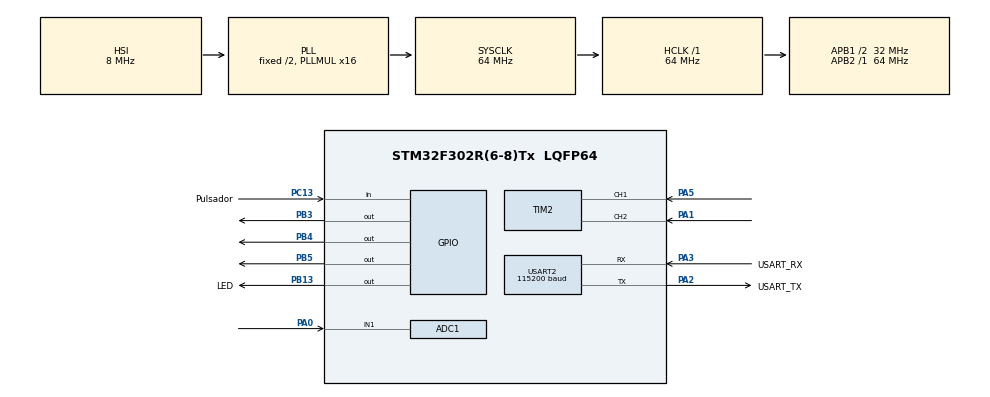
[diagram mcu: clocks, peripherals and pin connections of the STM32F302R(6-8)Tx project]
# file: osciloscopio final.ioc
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ADC1.Channel-0\#ChannelRegularConversion=ADC_CHANNEL_1
ADC1.ContinuousConvMode=ENABLE
ADC1.DMAContinuousRequests=ENABLE
ADC1.NbrOfConversionFlag=1
ADC1.Offset-0\#ChannelRegularConversion=0
ADC1.OffsetNumber-0\#ChannelRegularConversion=ADC_OFFSET_NONE
ADC1.Rank-0\#ChannelRegularConversion=1
ADC1.SamplingTime-0\#ChannelRegularConversion=ADC_SAMPLETIME_601CYCLES_5
ADC1.SamplingTimeOPAMP-0\#ChannelRegularConversion=ADC_SAMPLETIME_61CYCLES_5
ADC1.SubFamily=STM32F302x8
ADC1.master=1
Dma.ADC1.0.Direction=DMA_PERIPH_TO_MEMORY
Dma.ADC1.0.Instance=DMA1_Channel1
Dma.ADC1.0.MemDataAlignment=DMA_MDATAALIGN_WORD
Dma.ADC1.0.MemInc=DMA_MINC_ENABLE
Dma.ADC1.0.Mode=DMA_CIRCULAR
Dma.ADC1.0.PeriphDataAlignment=DMA_PDATAALIGN_WORD
Dma.ADC1.0.PeriphInc=DMA_PINC_DISABLE
Dma.ADC1.0.Priority=DMA_PRIORITY_LOW
Dma.Request0=ADC1
Mcu.Family=STM32F3
Mcu.Name=STM32F302R(6-8)Tx
Mcu.Package=LQFP64
NVIC.DMA1_Channel1_IRQn=true\:0\:0\:false\:false\:true\:false\:true\:true
NVIC.PriorityGroup=NVIC_PRIORITYGROUP_0
NVIC.TIM2_IRQn=true\:0\:0\:false\:false\:true\:true\:true\:true
PA0.Mode=IN1-Single-Ended
PA0.Signal=ADC1_IN1
PA1.Signal=S_TIM2_CH2
PA13.GPIO_Label=TMS
PA13.Mode=Serial_Wire
PA13.Signal=SYS_JTMS-SWDIO
PA14.GPIO_Label=TCK
PA14.Mode=Serial_Wire
PA14.Signal=SYS_JTCK-SWCLK
PA2.GPIO_Label=USART_TX
PA2.GPIO_Mode=GPIO_MODE_AF_PP
PA2.GPIO_PuPd=GPIO_NOPULL
PA2.GPIO_Speed=GPIO_SPEED_FREQ_LOW
PA2.Mode=Asynchronous
PA2.Signal=USART2_TX
PA3.GPIO_Label=USART_RX
PA3.GPIO_Mode=GPIO_MODE_AF_PP
PA3.GPIO_PuPd=GPIO_NOPULL
PA3.GPIO_Speed=GPIO_SPEED_FREQ_LOW
PA3.Mode=Asynchronous
PA3.Signal=USART2_RX
PA5.Signal=S_TIM2_CH1_ETR
PB13.GPIO_Label=LED
PB13.Signal=GPIO_Output
PB3.Signal=GPIO_Output
PB4.Signal=GPIO_Output
PB5.Signal=GPIO_Output
PC13.GPIO_Label=Pulsador
PC13.GPIO_PuPd=GPIO_PULLUP
PC13.Signal=GPIO_Input
PC14\ -\ OSC32_IN.Signal=RCC_OSC32_IN
PC15\ -\ OSC32_OUT.Signal=RCC_OSC32_OUT
PF0-OSC_IN.Mode=HSE-External-Oscillator
PF0-OSC_IN.Signal=RCC_OSC_IN
PF1-OSC_OUT.Mode=HSE-External-Oscillator
PF1-OSC_OUT.Signal=RCC_OSC_OUT
ProjectManager.HeapSize=0x200
ProjectManager.StackSize=0x400
ProjectManager.TargetToolchain=STM32CubeIDE
RCC.AHBFreq_Value=64000000
RCC.APB1CLKDivider=RCC_HCLK_DIV2
RCC.APB1Freq_Value=32000000
RCC.APB1TimFreq_Value=64000000
RCC.APB2Freq_Value=64000000
RCC.APB2TimFreq_Value=64000000
RCC.CortexFreq_Value=64000000
RCC.HCLKFreq_Value=64000000
RCC.HSE_VALUE=8000000
RCC.HSI_VALUE=8000000
RCC.LSE_VALUE=32768
RCC.PLLM=8
RCC.PLLMUL=RCC_PLL_MUL16
RCC.PLLN=336
RCC.PLLP=RCC_PLLP_DIV4
RCC.PLLQ=7
RCC.RCC_PLLsource_Clock_Source_FROM_HSE=RCC_HSE_PREDIV_DIV2
RCC.SYSCLKFreq_VALUE=64000000
RCC.SYSCLKSourceVirtual=RCC_SYSCLKSOURCE_PLLCLK
RCC.USBFreq_Value=64000000
SH.S_TIM2_CH1_ETR.0=TIM2_CH1,Encoder_Interface
SH.S_TIM2_CH2.0=TIM2_CH2,Encoder_Interface
TIM2.EncoderMode=TIM_ENCODERMODE_TI12
TIM2.IC1Polarity=TIM_ICPOLARITY_FALLING
TIM2.IC2Polarity=TIM_ICPOLARITY_FALLING
USART2.BaudRate=115200
USART2.VirtualMode-Asynchronous=VM_ASYNC
board=NUCLEO-F302R8

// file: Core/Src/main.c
/* USER CODE BEGIN Header */
/**
 ******************************************************************************

 *
 ******************************************************************************
 */

/* USER CODE END Header */
#include "main.h"

/* USER CODE BEGIN Includes */
#include "matriztarea1.h"
#include<math.h>
#include<stdio.h>
#include<string.h>
#include "stdbool.h"
/* USER CODE END Includes */

ADC_HandleTypeDef hadc1;
DMA_HandleTypeDef hdma_adc1;

TIM_HandleTypeDef htim2;

UART_HandleTypeDef huart2;

/* USER CODE BEGIN PV */
uint32_t VALOR_ADC;
char val[10];
int matris_on[8][8];
int wave = 0;
//int VALOR_ADC;
//float cont3=0;
//int cont4=0;
/* USER CODE END PV */

void SystemClock_Config(void);
static void MX_GPIO_Init(void);
static void MX_DMA_Init(void);
static void MX_USART2_UART_Init(void);
static void MX_ADC1_Init(void);
static void MX_TIM2_Init(void);

/* USER CODE BEGIN 0 */
uint32_t counter = 0;
//uint32_t counterr = 0;
int16_t count = 0;
//int16_t countt = 0;
int16_t Position_time = 0;
int16_t Position_volt = 0;
int8_t Stat;
GPIO_PinState estpul;
bool ctrl = false;
//int posicion_anterior = 0;
//int velocidad = 0;
void button() {
	estpul = HAL_GPIO_ReadPin(Pulsador_GPIO_Port, Pulsador_Pin);

	if (estpul && !ctrl) {
		ctrl = true;
	} else if (!estpul && ctrl) {
		HAL_GPIO_TogglePin(LED_GPIO_Port, LED_Pin);
		ctrl = false;
	}
	if (HAL_GPIO_ReadPin(LED_GPIO_Port, LED_Pin) == GPIO_PIN_SET) {
		Stat = 1; // Establecer Stat en 1 cuando el pin del LED está activo
	} else {
		Stat = 0; // Establecer Stat en 0 cuando el pin del LED está inactivo
	}
}

/* USER CODE END 0 */

int main(void) {

	/* MCU Configuration--------------------------------------------------------*/

	/* Reset of all peripherals, Initializes the Flash interface and the Systick. */
	HAL_Init();

	/* Configure the system clock */
	SystemClock_Config();

	/* Initialize all configured peripherals */
	MX_GPIO_Init();
	MX_DMA_Init();
	MX_USART2_UART_Init();
	MX_ADC1_Init();
	MX_TIM2_Init();
	/* USER CODE BEGIN 2 */
	HAL_TIM_Encoder_Start_IT(&htim2, TIM_CHANNEL_ALL);
	HAL_ADC_Start_DMA(&hadc1, &VALOR_ADC, 1);
	max_init(0x02);
	write_char('N', 1);
	HAL_Delay(2000);
	max_clear();
	button();
	/* USER CODE END 2 */

	/* Infinite loop */
	/* USER CODE BEGIN WHILE */
	while (1) {
	    button();
	    sprintf(val, "%u\n", VALOR_ADC);
	    uint8_t len = strlen(val);
	    HAL_UART_Transmit(&huart2, (uint8_t*) val, len, 100);

	    // Recorre los índices de la matriz
	    for (int i = 0; i < 8; i++) {
	        // Calcula los límites inferior y superior para cada LED
	        int lower_bound = i * 500 + 250;
	        int upper_bound = i * 500 + 720;

	        // Verifica si el VALOR_ADC está dentro del rango
	        if (VALOR_ADC >= (lower_bound * Position_volt * 0.1) &&
	            VALOR_ADC <= (upper_bound * Position_volt * 0.1)) {
	            matris_on[i][wave] = 1;  // LED encendido
	        } else {
	            matris_on[i][wave] = 0;  // LED apagado
	        }
	    }

	    // Actualiza el estado de los LEDs en función de la matriz
	    for (int z = 0; z < 8; z++) {
	        for (int i = 0; i < 8; i++) {
	            setled(i, z, matris_on[i][z]);
	        }
	    }

	    wave++;
	    HAL_Delay(Position_time);

	    if (wave > 7) {
	        wave = 0;
	    }
	}

	/* USER CODE END 3 */
}

void SystemClock_Config(void) {
	RCC_OscInitTypeDef RCC_OscInitStruct = { 0 };
	RCC_ClkInitTypeDef RCC_ClkInitStruct = { 0 };
	RCC_PeriphCLKInitTypeDef PeriphClkInit = { 0 };

	/** Initializes the RCC Oscillators according to the specified parameters
	 * in the RCC_OscInitTypeDef structure.
	 */
	RCC_OscInitStruct.OscillatorType = RCC_OSCILLATORTYPE_HSI;
	RCC_OscInitStruct.HSIState = RCC_HSI_ON;
	RCC_OscInitStruct.HSICalibrationValue =
	RCC_HSICALIBRATION_DEFAULT;
	RCC_OscInitStruct.PLL.PLLState = RCC_PLL_ON;
	RCC_OscInitStruct.PLL.PLLSource = RCC_PLLSOURCE_HSI;
	RCC_OscInitStruct.PLL.PLLMUL = RCC_PLL_MUL16;
	if (HAL_RCC_OscConfig(&RCC_OscInitStruct) != HAL_OK) {
		Error_Handler();
	}

	/** Initializes the CPU, AHB and APB buses clocks
	 */
	RCC_ClkInitStruct.ClockType = RCC_CLOCKTYPE_HCLK | RCC_CLOCKTYPE_SYSCLK
			| RCC_CLOCKTYPE_PCLK1 | RCC_CLOCKTYPE_PCLK2;
	RCC_ClkInitStruct.SYSCLKSource = RCC_SYSCLKSOURCE_PLLCLK;
	RCC_ClkInitStruct.AHBCLKDivider = RCC_SYSCLK_DIV1;
	RCC_ClkInitStruct.APB1CLKDivider = RCC_HCLK_DIV2;
	RCC_ClkInitStruct.APB2CLKDivider = RCC_HCLK_DIV1;

	if (HAL_RCC_ClockConfig(&RCC_ClkInitStruct, FLASH_LATENCY_2) != HAL_OK) {
		Error_Handler();
	}
	PeriphClkInit.PeriphClockSelection = RCC_PERIPHCLK_ADC1;
	PeriphClkInit.Adc1ClockSelection = RCC_ADC1PLLCLK_DIV1;

	if (HAL_RCCEx_PeriphCLKConfig(&PeriphClkInit) != HAL_OK) {
		Error_Handler();
	}
}
void HAL_TIM_IC_CaptureCallback(TIM_HandleTypeDef *htim) {

	counter = __HAL_TIM_GET_COUNTER(htim);

	count = (int16_t) counter;
	if (Stat == 1) {
		Position_volt = count / 4;
		if (Position_volt < 0) {
			Position_volt = 0;
			__HAL_TIM_SET_COUNTER(htim, 0);
		}
		if (Position_volt > 31) {
			Position_volt = 31;
			__HAL_TIM_SET_COUNTER(htim, 31);
		}
	} else {
		Position_time = count / 4;
		if (Position_time < 0) {
			Position_time = 0;
			__HAL_TIM_SET_COUNTER(htim, 0);
		}
		if (Position_time > 50) {
			Position_time = 50;
			__HAL_TIM_SET_COUNTER(htim, 50);

		}
		button();

	}
}
static void MX_ADC1_Init(void) {

	ADC_ChannelConfTypeDef sConfig = { 0 };

	/** Common config
	 */
	hadc1.Instance = ADC1;
	hadc1.Init.ClockPrescaler = ADC_CLOCK_ASYNC_DIV1;
	hadc1.Init.Resolution = ADC_RESOLUTION_12B;
	hadc1.Init.ScanConvMode = ADC_SCAN_DISABLE;
	hadc1.Init.ContinuousConvMode = ENABLE;
	hadc1.Init.DiscontinuousConvMode = DISABLE;
	hadc1.Init.ExternalTrigConvEdge = ADC_EXTERNALTRIGCONVEDGE_NONE;
	hadc1.Init.ExternalTrigConv = ADC_SOFTWARE_START;
	hadc1.Init.DataAlign = ADC_DATAALIGN_RIGHT;
	hadc1.Init.NbrOfConversion = 1;
	hadc1.Init.DMAContinuousRequests = ENABLE;
	hadc1.Init.EOCSelection = ADC_EOC_SINGLE_CONV;
	hadc1.Init.LowPowerAutoWait = DISABLE;
	hadc1.Init.Overrun = ADC_OVR_DATA_OVERWRITTEN;
	if (HAL_ADC_Init(&hadc1) != HAL_OK) {
		Error_Handler();
	}

	/** Configure Regular Channel
	 */
	sConfig.Channel = ADC_CHANNEL_1;
	sConfig.Rank = ADC_REGULAR_RANK_1;
	sConfig.SingleDiff = ADC_SINGLE_ENDED;
	sConfig.SamplingTime = ADC_SAMPLETIME_601CYCLES_5;
	sConfig.OffsetNumber = ADC_OFFSET_NONE;
	sConfig.Offset = 0;
	if (HAL_ADC_ConfigChannel(&hadc1, &sConfig) != HAL_OK) {
		Error_Handler();
	}

}

static void MX_TIM2_Init(void) {

	TIM_Encoder_InitTypeDef sConfig = { 0 };
	TIM_MasterConfigTypeDef sMasterConfig = { 0 };

	htim2.Instance = TIM2;
	htim2.Init.Prescaler = 0;
	htim2.Init.CounterMode = TIM_COUNTERMODE_UP;
	htim2.Init.Period = 4294967295;
	htim2.Init.ClockDivision = TIM_CLOCKDIVISION_DIV1;
	htim2.Init.AutoReloadPreload = TIM_AUTORELOAD_PRELOAD_DISABLE;
	sConfig.EncoderMode = TIM_ENCODERMODE_TI12;
	sConfig.IC1Polarity = TIM_ICPOLARITY_FALLING;
	sConfig.IC1Selection = TIM_ICSELECTION_DIRECTTI;
	sConfig.IC1Prescaler = TIM_ICPSC_DIV1;
	sConfig.IC1Filter = 0;
	sConfig.IC2Polarity = TIM_ICPOLARITY_FALLING;
	sConfig.IC2Selection = TIM_ICSELECTION_DIRECTTI;
	sConfig.IC2Prescaler = TIM_ICPSC_DIV1;
	sConfig.IC2Filter = 0;
	if (HAL_TIM_Encoder_Init(&htim2, &sConfig) != HAL_OK) {
		Error_Handler();
	}
	sMasterConfig.MasterOutputTrigger = TIM_TRGO_RESET;
	sMasterConfig.MasterSlaveMode = TIM_MASTERSLAVEMODE_DISABLE;
	if (HAL_TIMEx_MasterConfigSynchronization(&htim2, &sMasterConfig)
			!= HAL_OK) {
		Error_Handler();
	}

}

static void MX_USART2_UART_Init(void) {

	huart2.Instance = USART2;
	huart2.Init.BaudRate = 115200;
	huart2.Init.WordLength = UART_WORDLENGTH_8B;
	huart2.Init.StopBits = UART_STOPBITS_1;
	huart2.Init.Parity = UART_PARITY_NONE;
	huart2.Init.Mode = UART_MODE_TX_RX;
	huart2.Init.HwFlowCtl = UART_HWCONTROL_NONE;
	huart2.Init.OverSampling = UART_OVERSAMPLING_16;
	huart2.Init.OneBitSampling = UART_ONE_BIT_SAMPLE_DISABLE;
	huart2.AdvancedInit.AdvFeatureInit = UART_ADVFEATURE_NO_INIT;
	if (HAL_UART_Init(&huart2) != HAL_OK) {
		Error_Handler();
	}

}

static void MX_DMA_Init(void) {

	/* DMA controller clock enable */
	__HAL_RCC_DMA1_CLK_ENABLE();

	/* DMA interrupt init */
	/* DMA1_Channel1_IRQn interrupt configuration */
	HAL_NVIC_SetPriority(DMA1_Channel1_IRQn, 0, 0);
	HAL_NVIC_EnableIRQ(DMA1_Channel1_IRQn);

}

static void MX_GPIO_Init(void) {
	GPIO_InitTypeDef GPIO_InitStruct = { 0 };

	/* GPIO Ports Clock Enable */
	__HAL_RCC_GPIOC_CLK_ENABLE();
	__HAL_RCC_GPIOF_CLK_ENABLE();
	__HAL_RCC_GPIOA_CLK_ENABLE();
	__HAL_RCC_GPIOB_CLK_ENABLE();

	/*Configure GPIO pin Output Level */
	HAL_GPIO_WritePin(GPIOB,
	LED_Pin | GPIO_PIN_3 | GPIO_PIN_4 | GPIO_PIN_5, GPIO_PIN_RESET);

	/*Configure GPIO pin : Pulsador_Pin */
	GPIO_InitStruct.Pin = Pulsador_Pin;
	GPIO_InitStruct.Mode = GPIO_MODE_INPUT;
	GPIO_InitStruct.Pull = GPIO_PULLUP;
	HAL_GPIO_Init(Pulsador_GPIO_Port, &GPIO_InitStruct);

	/*Configure GPIO pins : LED_Pin PB3 PB4 PB5 */
	GPIO_InitStruct.Pin = LED_Pin | GPIO_PIN_3 | GPIO_PIN_4 | GPIO_PIN_5;
	GPIO_InitStruct.Mode = GPIO_MODE_OUTPUT_PP;
	GPIO_InitStruct.Pull = GPIO_NOPULL;
	GPIO_InitStruct.Speed = GPIO_SPEED_FREQ_LOW;
	HAL_GPIO_Init(GPIOB, &GPIO_InitStruct);

}

void Error_Handler(void) {
	__disable_irq();
	while (1) {
	}
}
